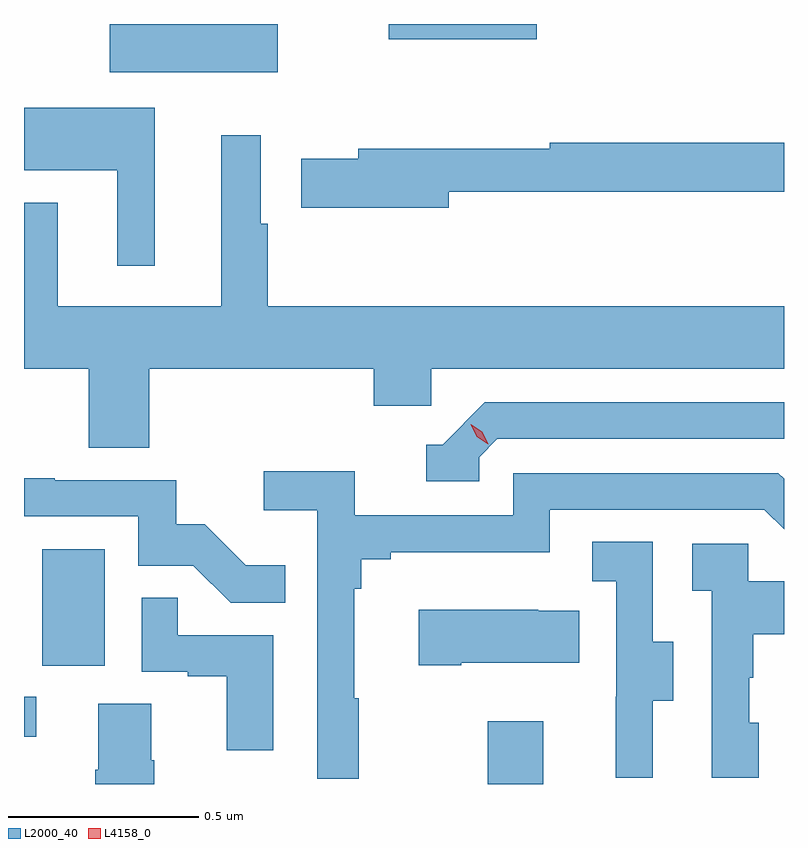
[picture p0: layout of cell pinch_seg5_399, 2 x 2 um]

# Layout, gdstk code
import gdstk
lib = gdstk.Library(unit=1e-6, precision=1e-09)
def R(c, l, rs):  # rectangles x0, y0, x1, y1
    for r in rs: c.add(gdstk.rectangle(r[:2], r[2:], *l))
def P(c, l, *ps):  # polygons
    for p in ps: c.add(gdstk.Polygon(p, *l))
L2000_40 = (2000, 40)
L4158_0 = (4158, 0)

pinch_seg5_399 = lib.new_cell('pinch_seg5_399')
R(pinch_seg5_399, L2000_40, [(983.23,867.655,983.377,867.82), (982.01,867.78,982.042,867.885), (982.058,867.966,982.222,868.273), (982.236,869.528,982.678,869.655), (982.97,869.615,983.359,869.655)])
P(pinch_seg5_399, L2000_40, [(982.354,869.434),(982.01,869.434),(982.01,869.27),(982.256,869.27),(982.256,869.019),(982.354,869.019)],
  [(982.34,868.748),(982.931,868.748),(982.931,868.65),(983.082,868.65),(983.082,868.748),(984.01,868.748),(984.01,868.912),(982.651,868.912),(982.651,869.129),(982.633,869.129),(982.633,869.362),(982.529,869.362),(982.529,868.912),(982.099,868.912),(982.099,869.185),(982.01,869.185),(982.01,868.748),(982.18,868.748),(982.18,868.54),(982.34,868.54)],
  [(983.128,869.214),(984.01,869.214),(984.01,869.342),(983.393,869.342),(983.393,869.327),(982.889,869.327),(982.889,869.301),(982.74,869.301),(982.74,869.171),(983.128,869.171)],
  [(983.208,868.515),(983.256,868.563),(984.01,868.563),(984.01,868.659),(983.223,868.659),(983.112,868.548),(983.069,868.548),(983.069,868.452),(983.208,868.452)],
  [(982.891,867.881),(982.879,867.881),(982.879,868.169),(982.898,868.169),(982.898,868.246),(982.975,868.246),(982.975,868.265),(983.394,868.265),(983.394,868.377),(983.958,868.377),(984.01,868.325),(984.01,868.458),(983.995,868.473),(983.298,868.473),(983.298,868.362),(982.88,868.362),(982.88,868.478),(982.641,868.478),(982.641,868.376),(982.782,868.376),(982.782,867.669),(982.891,867.669)],
  [(982.697,868.231),(982.593,868.231),(982.486,868.338),(982.41,868.338),(982.41,868.455),(982.091,868.455),(982.091,868.46),(982.01,868.46),(982.01,868.359),(982.311,868.359),(982.311,868.23),(982.456,868.23),(982.554,868.132),(982.697,868.132)],
  [(983.665,867.874),(983.719,867.874),(983.719,868.029),(983.664,868.029),(983.664,868.292),(983.505,868.292),(983.505,868.189),(983.568,868.189),(983.568,867.885),(983.567,867.885),(983.567,867.672),(983.665,867.672)],
  [(983.944,867.816),(983.919,867.816),(983.919,867.935),(983.929,867.935),(983.929,868.049),(984.01,868.049),(984.01,868.189),(983.916,868.189),(983.916,868.287),(983.769,868.287),(983.769,868.163),(983.82,868.163),(983.82,867.672),(983.944,867.672)],
  [(982.666,868.047),(982.415,868.047),(982.415,868.145),(982.32,868.145),(982.32,867.951),(982.441,867.951),(982.441,867.939),(982.544,867.939),(982.544,867.744),(982.666,867.744)],
  [(983.161,867.974),(983.471,867.974),(983.471,868.111),(983.363,868.111),(983.363,868.114),(983.049,868.114),(983.049,867.967),(983.161,867.967)],
  [(982.353,867.717),(982.345,867.717),(982.345,867.866),(982.205,867.866),(982.205,867.692),(982.198,867.692),(982.198,867.655),(982.353,867.655)])
P(pinch_seg5_399, L4158_0, [(983.232,868.549),(983.201,868.569),(983.186,868.602),(983.186,868.602),(983.186,868.602),(983.216,868.582),(983.232,868.549),(983.232,868.549)])

lib.write_gds('pinch_seg5_399.gds')
